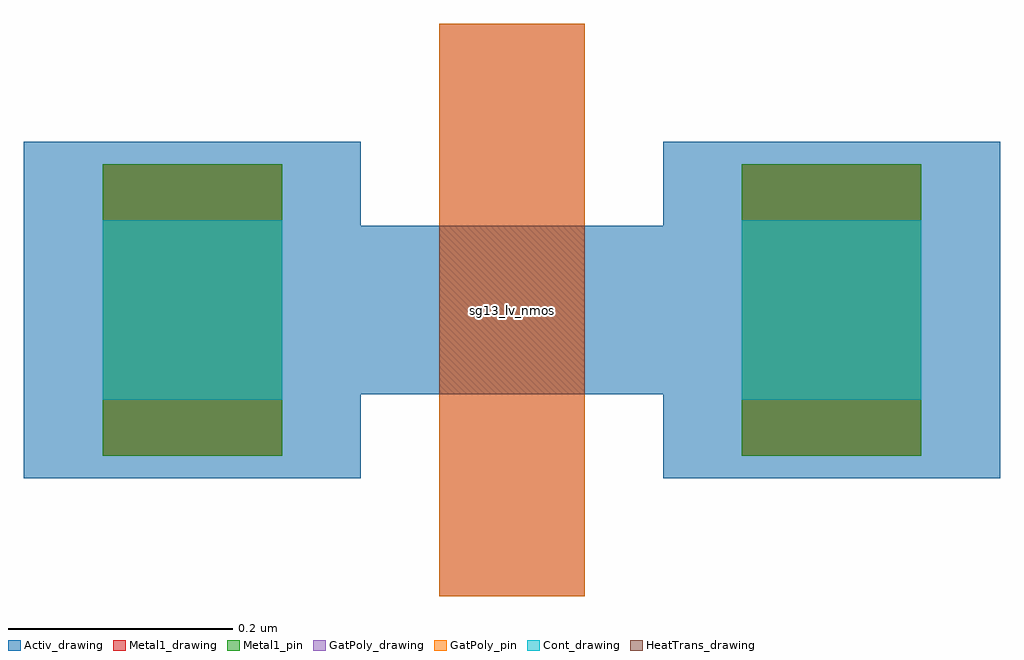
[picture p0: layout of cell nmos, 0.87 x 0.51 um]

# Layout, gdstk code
import gdstk
lib = gdstk.Library(unit=1e-6, precision=1e-09)
def R(c, l, rs):  # rectangles x0, y0, x1, y1
    for r in rs: c.add(gdstk.rectangle(r[:2], r[2:], *l))
Activ_drawing = (1, 0)
GatPoly_drawing = (5, 0)
GatPoly_pin = (5, 2)
Cont_drawing = (6, 0)
Metal1_drawing = (8, 0)
Metal1_pin = (8, 2)
HeatTrans_drawing = (51, 0)

nmos = lib.new_cell('nmos')
R(nmos, Activ_drawing, [(0,0,0.3,0.3), (0.57,0,0.87,0.3), (0,0.075,0.87,0.225)])
R(nmos, GatPoly_drawing, [(0.37,-0.105,0.5,0.405)])
R(nmos, GatPoly_pin, [(0.37,-0.105,0.5,0.405)])
R(nmos, Cont_drawing, [(0.07,0.07,0.23,0.23), (0.64,0.07,0.8,0.23)])
R(nmos, Metal1_drawing, [(0.07,0.02,0.23,0.28), (0.64,0.02,0.8,0.28)])
R(nmos, Metal1_pin, [(0.07,0.02,0.23,0.28), (0.64,0.02,0.8,0.28)])
R(nmos, HeatTrans_drawing, [(0.37,0.075,0.5,0.225)])
nmos.add(gdstk.Label('sg13_lv_nmos', (0.435,0.15), layer=51, texttype=0))

lib.write_gds('nmos.gds')
